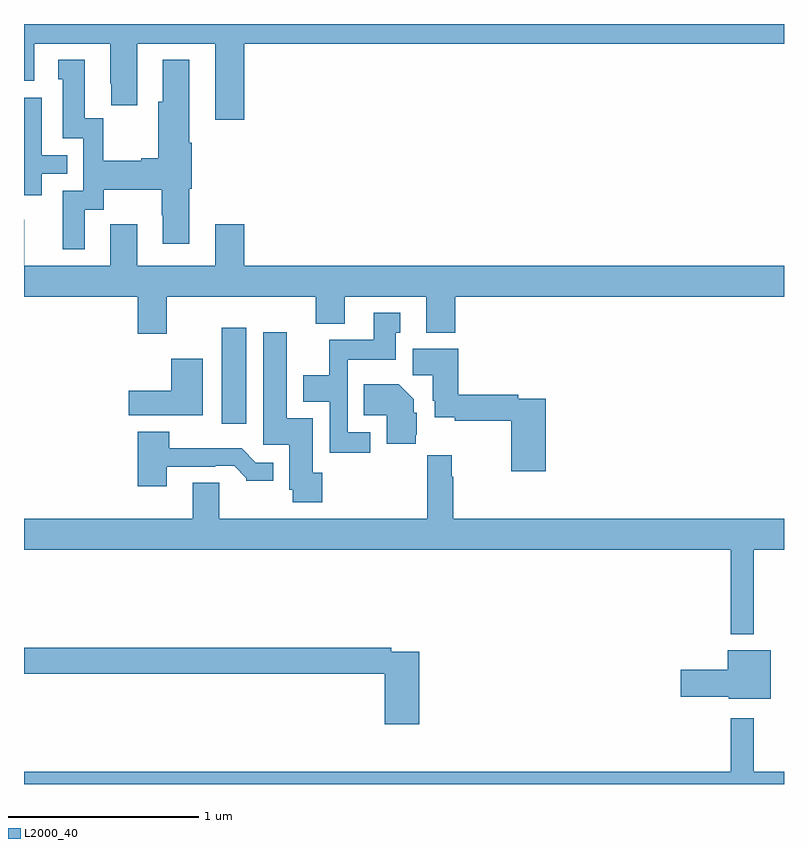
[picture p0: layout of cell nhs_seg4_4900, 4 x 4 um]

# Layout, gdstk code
import gdstk
lib = gdstk.Library(unit=1e-6, precision=1e-09)
def R(c, l, rs):  # rectangles x0, y0, x1, y1
    for r in rs: c.add(gdstk.rectangle(r[:2], r[2:], *l))
def P(c, l, *ps):  # polygons
    for p in ps: c.add(gdstk.Polygon(p, *l))
L2000_40 = (2000, 40)

nhs_seg4_4900 = lib.new_cell('nhs_seg4_4900')
R(nhs_seg4_4900, L2000_40, [(376.04,818.796,376.171,819.301)])
P(nhs_seg4_4900, L2000_40, [(376.16,820.796),(379,820.796),(379,820.9),(375,820.9),(375,820.602),(375.055,820.602),(375.055,820.796),(375.455,820.796),(375.455,820.585),(375.458,820.585),(375.458,820.473),(375.595,820.473),(375.595,820.796),(376.007,820.796),(376.007,820.395),(376.16,820.395)],
  [(375.319,819.922),(375.421,819.922),(375.421,820.028),(375.724,820.028),(375.724,819.894),(375.731,819.894),(375.731,819.744),(375.871,819.744),(375.871,820.032),(375.884,820.032),(375.884,820.276),(375.871,820.276),(375.871,820.711),(375.731,820.711),(375.731,820.491),(375.706,820.491),(375.706,820.193),(375.617,820.193),(375.617,820.18),(375.417,820.18),(375.417,820.403),(375.319,820.403),(375.319,820.711),(375.179,820.711),(375.179,820.608),(375.203,820.608),(375.203,820.299),(375.312,820.299),(375.312,820.023),(375.203,820.023),(375.203,819.714),(375.319,819.714)],
  [(375.093,820.113),(375.227,820.113),(375.227,820.209),(375.093,820.209),(375.093,820.512),(375,820.512),(375,819.999),(375.093,819.999)],
  [(375.751,819.464),(376.535,819.464),(376.535,819.323),(376.687,819.323),(376.687,819.464),(377.117,819.464),(377.117,819.275),(377.27,819.275),(377.27,819.464),(379,819.464),(379,819.628),(376.16,819.628),(376.16,819.847),(376.007,819.847),(376.007,819.628),(375.595,819.628),(375.595,819.847),(375.455,819.847),(375.455,819.628),(375.001,819.628),(375.001,819.871),(375,819.871),(375,819.464),(375.599,819.464),(375.599,819.27),(375.751,819.27)],
  [(376.822,818.751),(376.704,818.751),(376.704,819.134),(376.957,819.134),(376.957,819.276),(376.981,819.276),(376.981,819.379),(376.841,819.379),(376.841,819.238),(376.606,819.238),(376.606,819.052),(376.469,819.052),(376.469,818.912),(376.608,818.912),(376.608,818.643),(376.822,818.643)],
  [(376.571,818.538),(376.519,818.538),(376.519,818.824),(376.384,818.824),(376.384,819.277),(376.259,819.277),(376.259,818.685),(376.397,818.685),(376.397,818.448),(376.414,818.448),(376.414,818.382),(376.571,818.382)],
  [(377.747,818.928),(377.6,818.928),(377.6,818.948),(377.285,818.948),(377.285,819.19),(377.045,819.19),(377.045,819.052),(377.15,819.052),(377.15,818.916),(377.162,818.916),(377.162,818.831),(377.266,818.831),(377.266,818.812),(377.564,818.812),(377.564,818.547),(377.747,818.547)],
  [(375.94,819.139),(375.776,819.139),(375.776,818.97),(375.552,818.97),(375.552,818.84),(375.94,818.84)],
  [(377.063,818.739),(377.068,818.739),(377.068,818.853),(377.05,818.853),(377.05,818.926),(376.972,819.004),(376.789,819.004),(376.789,818.84),(376.91,818.84),(376.91,818.69),(377.063,818.69)],
  [(375.751,818.571),(376.007,818.571),(376.007,818.574),(376.106,818.574),(376.17,818.51),(376.17,818.495),(376.312,818.495),(376.312,818.592),(376.221,818.592),(376.145,818.668),(375.764,818.668),(375.764,818.755),(375.599,818.755),(375.599,818.466),(375.751,818.466)],
  [(378.841,818.132),(379,818.132),(379,818.296),(377.258,818.296),(377.258,818.516),(377.251,818.516),(377.251,818.629),(377.122,818.629),(377.122,818.296),(376.027,818.296),(376.027,818.486),(375.887,818.486),(375.887,818.296),(375,818.296),(375,818.132),(378.72,818.132),(378.72,817.688),(378.841,817.688)],
  [(377.081,817.596),(376.934,817.596),(376.934,817.616),(375,817.616),(375,817.48),(376.898,817.48),(376.898,817.215),(377.081,817.215)],
  [(378.931,817.603),(378.704,817.603),(378.704,817.502),(378.456,817.502),(378.456,817.36),(378.708,817.36),(378.708,817.349),(378.931,817.349)],
  [(379,816.964),(378.841,816.964),(378.841,817.246),(378.72,817.246),(378.72,816.964),(375,816.964),(375,816.9),(379,816.9)])

lib.write_gds('nhs_seg4_4900.gds')
